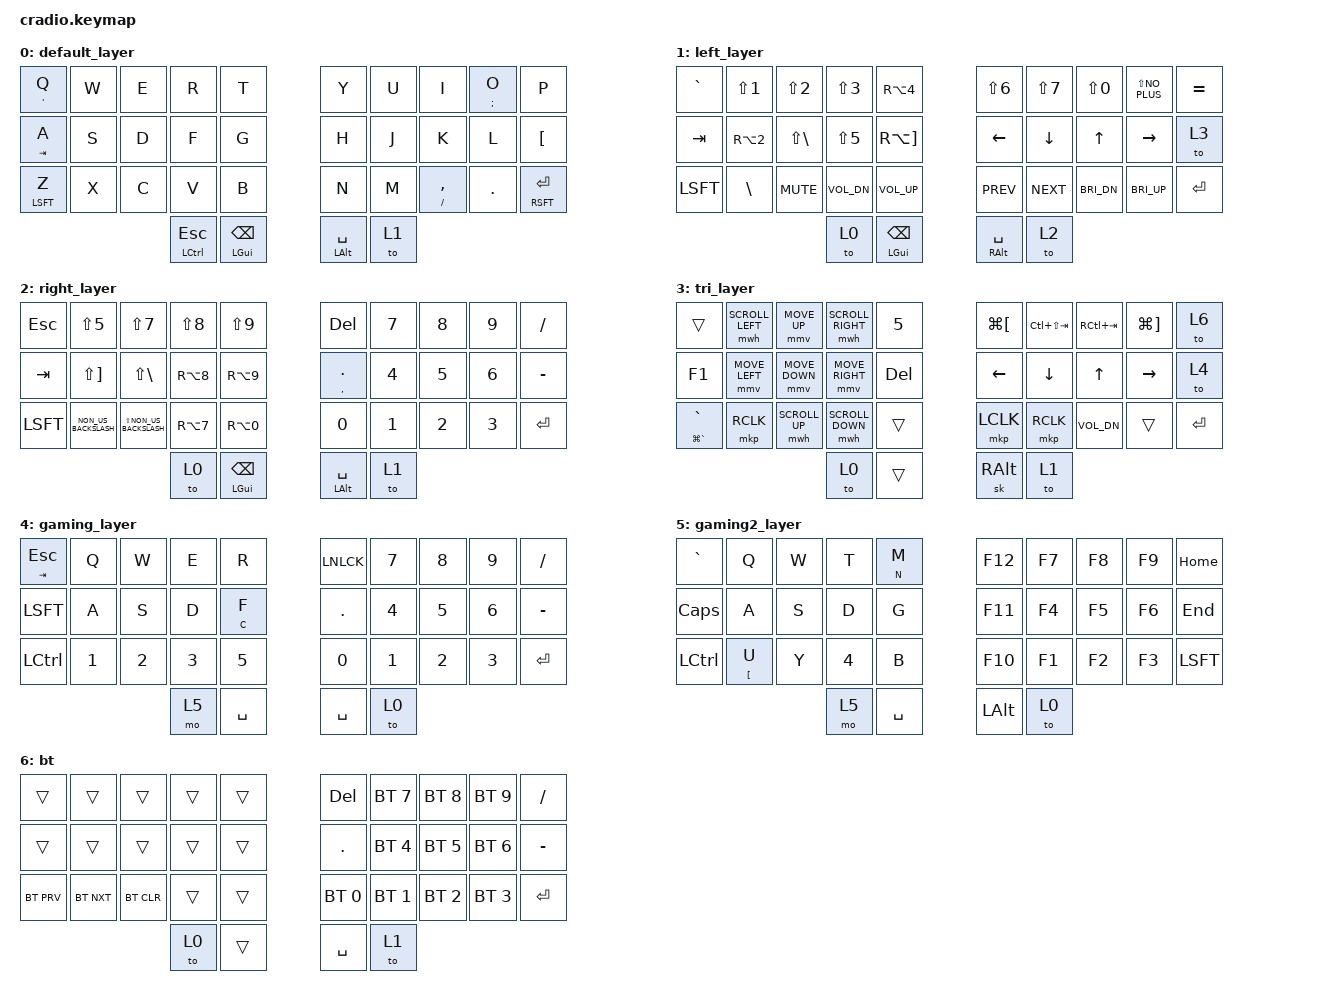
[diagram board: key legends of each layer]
/*
 * Copyright (c) 2020 The ZMK Contributors
 *
 * SPDX-License-Identifier: MIT
 */

#include <behaviors.dtsi>
#include <dt-bindings/zmk/keys.h>
#include <dt-bindings/zmk/bt.h>
#include <dt-bindings/zmk/mouse.h>

// norwegian definitions below
#define AE	 SQT	   // Æ
#define OE	 SEMI	   // Ø
#define AA	 LBKT	   // Å
#define NO_PIPE	 GRAVE     // |
#define NO_EXCL  LS(N1)    // !
#define NO_AT 	 RA(N2)    // @
#define NO_HASH	 LS(N3)    // #
#define NO_DLLR	 RA(N4)    // $
#define NO_PRCNT LS(N5)    // %
#define NO_AMPS	 LS(N6)	   // &
#define NO_STAR	 LS(BSLH)  // *
#define NO_LPAR	 LS(N8)    // (
#define NO_RPAR	 LS(N9)    // )
#define NO_LBKT  RA(N8)    // [
#define NO_RBKT  RA(N9)    // ]
#define NO_LBRC	 RA(N7)	   // {
#define NO_RBRC	 RA(N0)	   // }
#define NO_PLUS	 MINUS     // +
#define NO_DASH	 FSLH      // -
#define NO_APOS	 BSLH      // '
#define NO_EQL	 LS(N0)    // =
#define NO_QMARK LS(NO_PLUS) // ?
#define NO_QUOT	 LS(N2)    // "
#define NO_COL	 LS(COMMA) // :
#define NO_SCOL  LS(DOT)   // ;
#define NO_TILDE RA(RBKT)  // ~
#define NO_HAT   LS(RBKT)  // ^
#define NO_LESS  NON_US_BACKSLASH // <
#define NO_MORE  LS(NON_US_BACKSLASH) // >
#define NO_FLSH LS(N7) // /
#define NO_BLSH	 EQUAL // \
#define NO_OLSH	 RA(NON_US_BACKSLASH) // \



&mt {
    flavor = "tap-preferred";
    tapping_term_ms = <200>;
};

&mmv {
   time-to-max-speed-ms = <680>;
   acceleration-exponent=<2>;
};
/ {


    behaviors {
        hm: homerow_mods {
            compatible = "zmk,behavior-hold-tap";
            label = "HOMEROW_MODS";
            #binding-cells = <2>;
            tapping-term-ms = <200>;
            quick_tap_ms = <0>;
            flavor = "tap-preferred";
            bindings = <&kp>, <&kp>;
        };
	dth: double-tap-to-hold {
            compatible = "zmk,behavior-hold-tap";
            label = "DOUBLETAP";
            #binding-cells = <2>;
            tapping-term-ms = <200>;
            quick_tap_ms = <200>;
            flavor = "tap-preferred";
            bindings = <&kp>, <&kp>;
	};
	td: tapdance {
            compatible = "zmk,behavior-hold-tap";
            label = "TAPDANCE";
            #binding-cells = <2>;
            tapping-term-ms = <150>;
            quick_tap_ms = <0>;
            flavor = "tap-preferred";
            bindings = <&kp>, <&kp>;
        };
    };

        keymap {
                compatible = "zmk,keymap";

       		default_layer {
		bindings = <
		&dth AE Q &kp W &kp E &kp R &kp T					&kp Y &kp U &kp I &dth OE O &kp P
		&dth TAB A &kp S &kp D &kp F &kp G		        	        &kp H &kp J &kp K &kp L &kp AA
		&dth LSFT Z &kp X &kp C &kp V &kp B				        &kp N &kp M &dth NO_DASH CMMA &kp DOT &dth RSFT ENTER
         			&mt LCTRL ESC &dth LGUI BKSP				&dth LALT SPC &to 1
		>;
		};

       		left_layer {
		bindings = <
		&kp NO_PIPE &kp NO_EXCL &kp NO_QUOT &kp NO_HASH  &kp NO_DLLR		&kp NO_AMPS &kp NO_FLSH &kp NO_EQL &kp NO_QMARK &kp NO_BLSH
		&kp TAB    &kp NO_AT    &kp NO_STAR &kp NO_PRCNT &kp NO_TILDE 		&kp LEFT &kp DOWN  &kp UP &kp RIGHT &to 3
		&kp LSFT   &kp NO_APOS 	&kp K_MUTE  &kp K_VOL_DN &kp K_VOL_UP		&kp C_PREV &kp C_NEXT &kp C_BRI_DN &kp C_BRI_UP &kp ENTER
					   		     &to 0  &dth LGUI BKSP	&dth RALT SPC &to 2
		>;
		};

		right_layer {
		bindings = <
		&kp ESC  &kp NO_PRCNT &kp NO_FLSH  &kp NO_LPAR &kp NO_RPAR    			&kp DEL &kp N7 &kp N8 &kp N9 &kp NO_DASH
		&kp TAB  &kp NO_HAT &kp NO_STAR &kp NO_LBKT &kp NO_RBKT 			&dth CMMA DOT &kp N4  &kp N5  &kp N6  &kp NO_PLUS
		&kp LSFT  &kp NO_LESS &kp NO_MORE &kp NO_LBRC &kp NO_RBRC    			&kp N0 &kp N1 &kp N2 &kp N3  &kp ENTER
					  &to 0 &dth LGUI BKSP 					&dth LALT SPC  &to 1
		>;
		};

		tri_layer {
		bindings = <
		&trans  &mwh SCROLL_LEFT    &mmv MOVE_UP    &mwh SCROLL_RIGHT    &kp NUM_5 			&kp LG(LBKT)   &kp LC(LS(TAB))   &kp RC(TAB) &kp LG(RBKT) &to 6
		&kp F1 &mmv MOVE_LEFT &mmv MOVE_DOWN &mmv MOVE_RIGHT &kp DEL  						&kp LEFT &kp DOWN  &kp UP &kp RIGHT &to 4
		&td LG(GRAVE) GRAVE &mkp RCLK  &mwh SCROLL_UP &mwh SCROLL_DOWN &trans   				&mkp LCLK &mkp RCLK &kp K_VOL_DN  &trans &kp ENTER
					 &to 0 &trans  					&sk RALT &to 1
		>;
		};

		gaming_layer {
		bindings = <
		&mt TAB ESC &kp Q &kp W  &kp E &kp R    	&kp LNLCK &kp N7 &kp N8 &kp N9 &kp NO_DASH
		&kp LSFT  &kp A &kp S &kp D &mt C F  		&kp DOT &kp N4  &kp N5  &kp N6   &kp NO_PLUS
		&kp LCTRL  &kp N1 &kp N2 &kp N3 &kp N5		&kp N0 &kp N1 &kp N2 &kp N3  &kp ENTER
					  &mo 5 &kp SPC 					&kp SPC  &to 0
		>;
		};

		gaming2_layer {
		bindings = <
		&kp NO_PIPE &kp Q &kp W  &kp T &mt N M 			&kp F12 &kp F7 &kp F8 &kp F9 &kp HOME
		&kp CLCK  &kp A &kp S &kp D &kp G  			&kp F11 &kp F4 &kp F5 &kp F6 &kp END
		&kp LCTRL  &mt AA U &kp Y &kp N4 &kp B			&kp F10 &kp F1 &kp F2 &kp F3 &kp LSFT
					  &mo 5 &kp SPC 					&kp LALT  &to 0
		>;
		};

		bt {
		bindings = <
		&trans  &trans &trans &trans &trans 		&kp DEL &bt BT_SEL 7 &bt BT_SEL 8 &bt BT_SEL 9 &kp NO_DASH
		&trans  &trans &trans &trans &trans		&kp DOT &bt BT_SEL 4  &bt BT_SEL 5  &bt BT_SEL 6   &kp NO_PLUS
		&bt BT_PRV  &bt BT_NXT &bt BT_CLR &trans &trans  &bt BT_SEL 0 &bt BT_SEL 1 &bt BT_SEL 2 &bt BT_SEL 3  &kp ENTER
					 &to 0 &trans  			&kp SPC  &to 1
		>;
		};

	};
};
